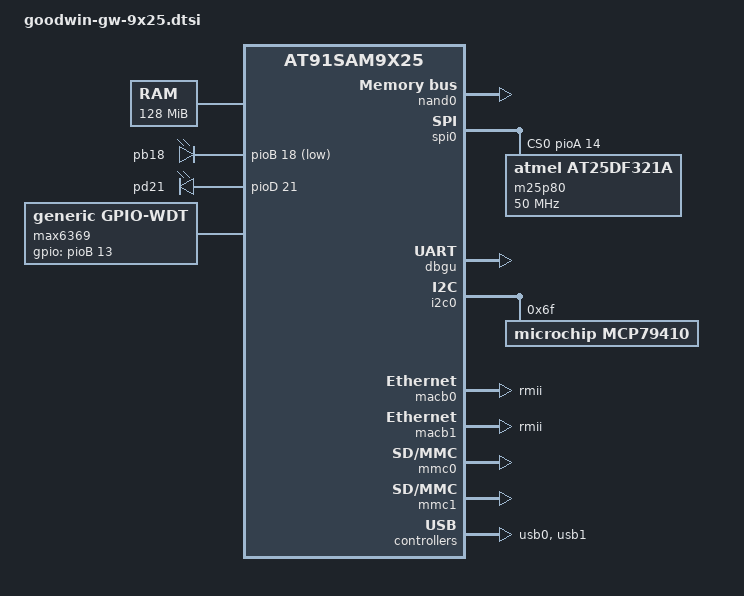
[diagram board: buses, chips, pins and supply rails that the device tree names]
/*
 * goodwin-gw-9x25.dtsi - Device Tree include file for Goodwin boards based
 *                        on at91sam9x25 SoC
 *
 *  Copyright (C) 2013 Goodwin,
 *                2013 Alexander Morozov <linux@meltdown.ru>
 *
 * SPI and MMC0 ports use same pins, so only one module should be loaded at a
 * time. If MMC is selected, serial flash must be disabled with hardware
 * switch 1:2.
 *
 * Licensed under GPLv2 or later.
 */

/include/ "at91sam9x25.dtsi"

/ {
	memory {
		reg = <0x20000000 0x8000000>;
	};

	clocks {
		#address-cells = <1>;
		#size-cells = <1>;
		ranges;

		main_clock: clock@0 {
			compatible = "atmel,osc", "fixed-clock";
			clock-frequency = <12000000>;
		};
	};

	leds {
		compatible = "gpio-leds";

		pb18 {
			label = "pb18";
			gpios = <&pioB 18 1>;
			linux,default-trigger = "heartbeat";
		};

		pd21 {
			label = "pd21";
			gpios = <&pioD 21 0>;
		};
	};

	max6369 {
		/* WDT can be disabled by setting switch 1:1 to off */
		compatible = "generic,gpio-wdt";
		gpios = <&pioB 13 0>;
		ping-sec = <5>;
		timeout-sec = <60>;
	};
		
	ahb {
		nand0: nand@40000000 {
			nand-bus-width = <8>;
			nand-ecc-mode = "hw";
			atmel,has-pmecc;	/* Enable PMECC */
			atmel,pmecc-cap = <2>;
			atmel,pmecc-sector-size = <512>;
			nand-on-flash-bbt;
			status = "okay";
		};

		apb {
			spi0: spi@f0000000 {
				status = "okay";
				cs-gpios = <&pioA 14 0>;
				m25p80@0 {
					/* Close switch 1:2 to enable */
					compatible = "atmel,at25df321a";
					spi-max-frequency = <50000000>;
					reg = <0>;
				};
			};

			dbgu: serial@fffff200 {
				status = "okay";
			};


			i2c0: i2c@f8010000 {
				status = "okay";

				mcp79410: rtc@6f {
					compatible = "microchip,mcp79410";
					reg = <0x6f>;
				};
			};

			macb0: ethernet@f802c000 {
				status = "okay";
				phy-mode = "rmii";
			};

			macb1: ethernet@f8030000 {
				status = "okay";
				phy-mode = "rmii";
			};

			mmc0: mmc@f0008000 {
				pinctrl-0 = <&pinctrl_mmc0_slot0_clk_cmd_dat0 &pinctrl_mmc0_slot0_dat1_3>;
				pinctrl-names = "default";
				status = "okay";
				dmas = <>;
				slot@0 {
					reg = <0>;
					bus-width = <4>;
				};
			};

			mmc1: mmc@f000c000 {
				pinctrl-0 = <&pinctrl_mmc1_slot0_clk_cmd_dat0 &pinctrl_mmc1_slot0_dat1_3>;
				pinctrl-names = "default";
				status = "okay";
				dmas = <>;
				slot@0 {
					reg = <0>;
					bus-width = <4>;
				};
			};

		};

		usb0: ohci@00600000 {
			status = "okay";
			num-ports = <3>;
			atmel,vbus-gpio = <&pioB 16 1
					   &pioD 18 0
					   &pioD 19 0
					  >;
		};

		usb1: ehci@00700000 {
			status = "okay";
		};
	};
};

